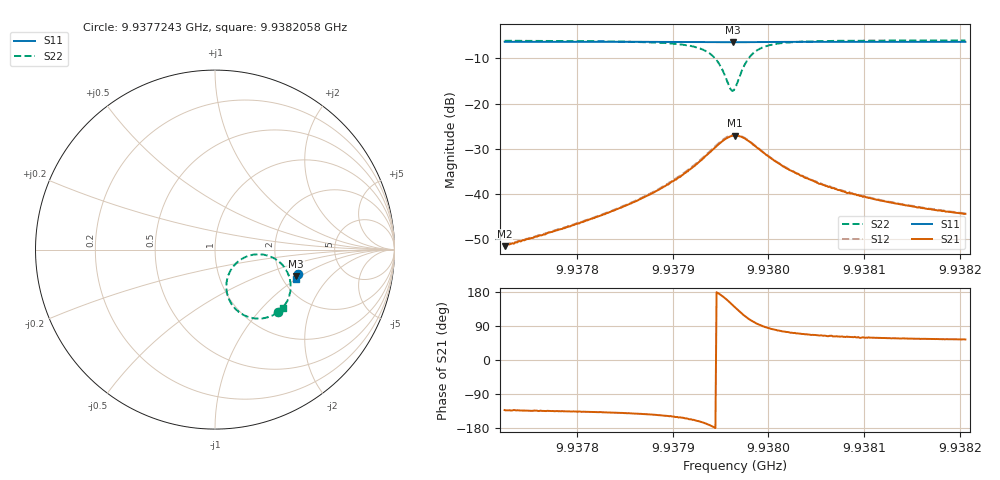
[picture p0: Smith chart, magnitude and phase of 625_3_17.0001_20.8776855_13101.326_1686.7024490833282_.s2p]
#  HZ  S  RI  R  50.00
! Rohde & Schwarz Vector Network Analyzer
! Rohde-Schwarz,ZNB20-2Port,1311601062101988,3.16
! Created: UTC 3/20/2024, 11:20:06 PM
! freq[Hz]  re:S11  im:S11  re:S21  im:S21  re:S12  im:S12  re:S22  im:S22
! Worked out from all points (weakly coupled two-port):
!   401 points, 9.9377243 GHz to 9.9382058 GHz, reference 50 ohm
!   highest |S21| = -27.06 dB at 9.9379651 GHz (marker M1); lowest = -51.5 dB at 9.9377243 GHz (marker M2)
!   lowest |S11| = -6.5 dB at 9.9379626 GHz (marker M3), VSWR 2.81, Z = 120 - j46.1 ohm
!   |S11| at or under -10 dB: nowhere
!   |S22| runs from -17.2 to -6.1 dB; largest |S21 - S12| = 0.002
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9.93772426e9  0.4622 -0.1362  -0.00179 -0.00198  -0.0019 -0.00199  0.3494 -0.3492
9.93780492e9  0.4602 -0.1417  -0.00357 -0.00336  -0.00363 -0.00337  0.3297 -0.3618
9.93784826e9  0.4589 -0.1446  -0.00556 -0.00468  -0.00576 -0.00471  0.3097 -0.3714
9.93788559e9  0.4573 -0.1475  -0.00926 -0.00637  -0.00953 -0.00634  0.2758 -0.3813
9.93791809e9  0.4556 -0.1497  -0.0172 -0.00753  -0.0178 -0.00749  0.2082 -0.3813
9.93793615e9  0.454 -0.151  -0.0269 -0.005  -0.0278 -0.00474  0.1331 -0.3475
9.93794217e9  0.4534 -0.1512  -0.0312 -0.002  -0.0322 -0.00148  0.1018 -0.3165
9.93794699e9  0.4528 -0.1511  -0.0348 0.00205  -0.0357 0.00283  0.0791 -0.2791
9.93795181e9  0.452 -0.1507  -0.0376 0.00765  -0.0386 0.00889  0.0644 -0.2278
9.93795903e9  0.4516 -0.1498  -0.0383 0.0193  -0.0387 0.0209  0.0782 -0.1333
9.93796264e9  0.4515 -0.1491  -0.0362 0.0254  -0.0359 0.0272  0.1068 -0.0878
9.93796505e9  0.4518 -0.1489  -0.0336 0.029  -0.0332 0.0309  0.1333 -0.0631
9.93797107e9  0.4523 -0.1483  -0.0249 0.0354  -0.0239 0.0369  0.214 -0.0283
9.93797709e9  0.4533 -0.1484  -0.0153 0.0369  -0.0144 0.038  0.2901 -0.0325
9.93798311e9  0.4541 -0.1488  -0.00786 0.0351  -0.0067 0.0358  0.3466 -0.0595
9.93798913e9  0.4545 -0.1494  -0.00244 0.032  -0.00163 0.0323  0.3822 -0.093
9.93799997e9  0.4551 -0.1507  0.00258 0.0261  0.00324 0.0262  0.4124 -0.1482
9.93801682e9  0.4552 -0.1525  0.00522 0.0193  0.00568 0.0192  0.4219 -0.2059
9.93804572e9  0.4548 -0.1551  0.0057 0.013  0.00607 0.0129  0.4142 -0.2572
9.93808063e9  0.4538 -0.1575  0.00517 0.00918  0.00528 0.00929  0.4024 -0.2864
9.93812638e9  0.4526 -0.161  0.00435 0.00686  0.00456 0.00688  0.3909 -0.3065
9.93820584e9  0.4502 -0.1664  0.00356 0.00491  0.00367 0.0049  0.3777 -0.3244
